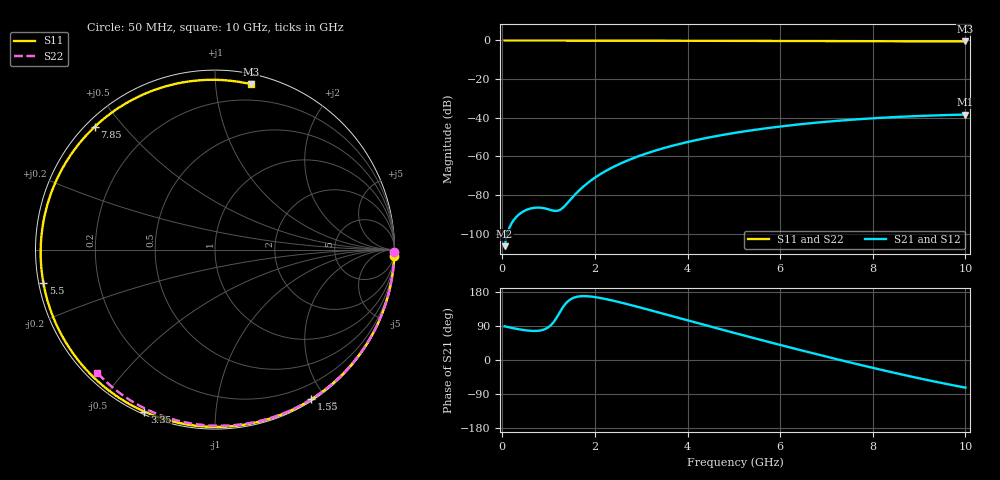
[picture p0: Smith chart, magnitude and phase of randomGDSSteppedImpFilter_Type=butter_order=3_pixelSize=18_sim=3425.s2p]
! freq	dB(S11)	phase(S11)	dB(S12)	phase(S12)
!  dB(S21)	phase(S21)	dB(S22)	phase(S22)
!S-par simulation data
#  GHz  S  DB  R 50
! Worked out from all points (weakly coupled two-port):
!   200 points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, 50 MHz to 10 GHz, reference 50 ohm
!   highest |S21| = -38.34 dB at 10 GHz (marker M1); lowest = -106.4 dB at 50 MHz (marker M2)
!   lowest |S11| = -0.5 dB at 10 GHz (marker M3), VSWR 34.19, Z = 3.71 + j62 ohm
!   |S11| at or under -10 dB: nowhere
!   |S22| runs from -0.5 to 0.0 dB; largest |S21 - S12| = 0
!   S11 on the Smith chart (normalised r, x): 50 MHz: 0, -59; 1.55 GHz: 0.02, -1.83; 3.35 GHz: 0.01, -0.65; 5.5 GHz: 0.01, -0.10; 7.85 GHz: 0.03, +0.42; 10 GHz: 0.07, +1.24
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0.05  -0.00 -1.9  -106.44 88.8  -106.44 88.8  -0.00 -0.8
0.4  -0.02 -15.2  -89.28 80.2  -89.28 80.2  -0.01 -6.1
0.75  -0.04 -28.4  -86.48 76.9  -86.48 76.9  -0.01 -11.5
1.15  -0.05 -43.0  -88.21 107.2  -88.21 107.2  -0.02 -17.6
1.55  -0.07 -57.2  -80.26 164.7  -80.26 164.7  -0.03 -23.6
1.75  -0.08 -64.1  -75.61 168.6  -75.61 168.6  -0.03 -26.6
2.05  -0.09 -74.1  -70.20 165.1  -70.20 165.1  -0.04 -31.0
2.4  -0.10 -85.3  -65.43 156.3  -65.43 156.3  -0.05 -36.2
2.85  -0.12 -99.1  -60.72 142.6  -60.72 142.6  -0.06 -42.8
3.35  -0.13 -113.6  -56.66 126.3  -56.66 126.3  -0.07 -49.9
3.4  -0.13 -115.0  -56.30 124.6  -56.30 124.6  -0.07 -50.6
4.25  -0.17 -137.8  -51.23 96.4  -51.23 96.4  -0.09 -62.5
5.05  -0.20 -157.9  -47.70 70.1  -47.70 70.1  -0.11 -73.3
5.5  -0.23 -168.9  -46.09 55.6  -46.09 55.6  -0.13 -79.2
6.1  -0.26 176.7  -44.25 36.6  -44.25 36.6  -0.15 -86.9
6.7  -0.30 162.4  -42.72 18.0  -42.72 18.0  -0.18 -94.4
7.25  -0.33 149.1  -41.55 1.3  -41.55 1.3  -0.21 -101.2
7.85  -0.37 134.4  -40.50 -16.4  -40.50 -16.4  -0.25 -108.5
8.35  -0.41 121.8  -39.79 -30.6  -39.79 -30.6  -0.29 -114.4
9.2  -0.46 99.5  -38.90 -53.5  -38.90 -53.5  -0.37 -124.4
9.6  -0.48 88.7  -38.59 -63.4  -38.59 -63.4  -0.41 -129.1
10  -0.51 77.7  -38.34 -72.9  -38.34 -72.9  -0.45 -133.8
